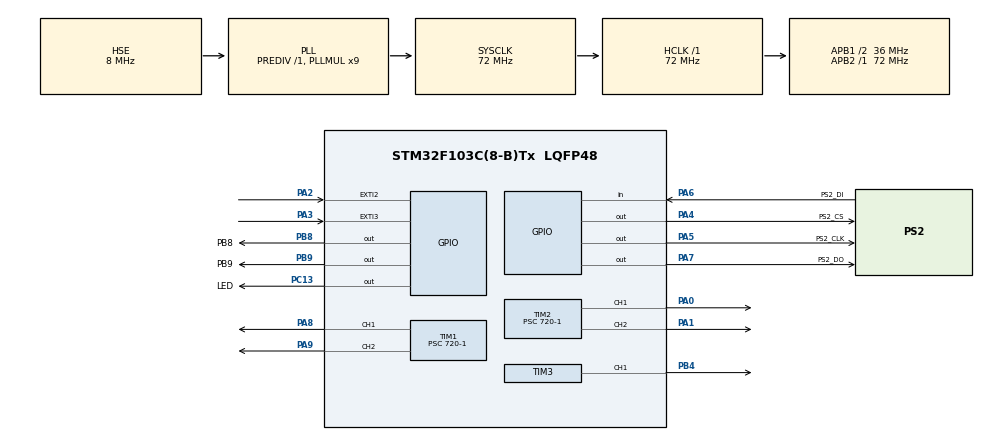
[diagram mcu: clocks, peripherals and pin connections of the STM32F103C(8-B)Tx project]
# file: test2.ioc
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Mcu.Family=STM32F1
Mcu.Name=STM32F103C(8-B)Tx
Mcu.Package=LQFP48
NVIC.EXTI2_IRQn=true\:0\:0\:false\:false\:true\:true\:true\:true
NVIC.EXTI3_IRQn=true\:0\:0\:false\:false\:true\:true\:true\:true
NVIC.PriorityGroup=NVIC_PRIORITYGROUP_4
PA0-WKUP.Signal=S_TIM2_CH1_ETR
PA1.Signal=S_TIM2_CH2
PA13.Mode=Serial_Wire
PA13.Signal=SYS_JTMS-SWDIO
PA14.Mode=Serial_Wire
PA14.Signal=SYS_JTCK-SWCLK
PA2.GPIO_ModeDefaultEXTI=GPIO_MODE_IT_FALLING
PA2.GPIO_PuPd=GPIO_PULLUP
PA2.Signal=GPXTI2
PA3.GPIO_ModeDefaultEXTI=GPIO_MODE_IT_FALLING
PA3.GPIO_PuPd=GPIO_PULLUP
PA3.Signal=GPXTI3
PA4.GPIO_Label=PS2_CS
PA4.GPIO_Speed=GPIO_SPEED_FREQ_HIGH
PA4.PinState=GPIO_PIN_SET
PA4.Signal=GPIO_Output
PA5.GPIO_Label=PS2_CLK
PA5.GPIO_Speed=GPIO_SPEED_FREQ_LOW
PA5.PinState=GPIO_PIN_RESET
PA5.Signal=GPIO_Output
PA6.GPIO_Label=PS2_DI
PA6.GPIO_Mode=GPIO_MODE_INPUT
PA6.GPIO_PuPd=GPIO_PULLUP
PA6.Signal=GPIO_Input
PA7.GPIO_Label=PS2_DO
PA7.GPIO_Speed=GPIO_SPEED_FREQ_LOW
PA7.PinState=GPIO_PIN_RESET
PA7.Signal=GPIO_Output
PA8.Signal=S_TIM1_CH1
PA9.Signal=S_TIM1_CH2
PB4.Signal=S_TIM3_CH1
PB8.GPIO_Label=PB8
PB8.Signal=GPIO_Output
PB9.GPIO_Label=PB9
PB9.Signal=GPIO_Output
PC13-TAMPER-RTC.GPIO_Label=LED
PC13-TAMPER-RTC.Signal=GPIO_Output
PD0-OSC_IN.Mode=HSE-External-Oscillator
PD0-OSC_IN.Signal=RCC_OSC_IN
PD1-OSC_OUT.Mode=HSE-External-Oscillator
PD1-OSC_OUT.Signal=RCC_OSC_OUT
ProjectManager.HeapSize=0x200
ProjectManager.StackSize=0x400
ProjectManager.TargetToolchain=SW4STM32
RCC.AHBFreq_Value=72000000
RCC.APB1CLKDivider=RCC_HCLK_DIV2
RCC.APB1Freq_Value=36000000
RCC.APB1TimFreq_Value=72000000
RCC.APB2Freq_Value=72000000
RCC.APB2TimFreq_Value=72000000
RCC.HCLKFreq_Value=72000000
RCC.PLLMUL=RCC_PLL_MUL9
RCC.PLLSourceVirtual=RCC_PLLSOURCE_HSE
RCC.SYSCLKFreq_VALUE=72000000
RCC.SYSCLKSource=RCC_SYSCLKSOURCE_PLLCLK
RCC.USBFreq_Value=72000000
SH.S_TIM1_CH1.0=TIM1_CH1,PWM Generation1 CH1
SH.S_TIM1_CH2.0=TIM1_CH2,PWM Generation2 CH2
SH.S_TIM2_CH1_ETR.0=TIM2_CH1,PWM Generation1 CH1
SH.S_TIM2_CH2.0=TIM2_CH2,PWM Generation2 CH2
SH.S_TIM3_CH1.0=TIM3_CH1,PWM Generation1 CH1
TIM1.Channel-PWM\ Generation1\ CH1=TIM_CHANNEL_1
TIM1.Channel-PWM\ Generation2\ CH2=TIM_CHANNEL_2
TIM1.Period=1000-1
TIM1.Prescaler=720-1
TIM2.AutoReloadPreload=TIM_AUTORELOAD_PRELOAD_ENABLE
TIM2.Channel-PWM\ Generation1\ CH1=TIM_CHANNEL_1
TIM2.Channel-PWM\ Generation2\ CH2=TIM_CHANNEL_2
TIM2.Period=1000-1
TIM2.Prescaler=720-1
TIM2.Pulse-PWM\ Generation2\ CH2=500
TIM3.Channel-PWM\ Generation1\ CH1=TIM_CHANNEL_1
TIM3.Period=20000-1
TIM3.Prescaler=72-1
VP_TIM1_VS_ClockSourceINT.Mode=Internal
board=custom

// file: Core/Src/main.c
/* USER CODE BEGIN Header */
/**
  ******************************************************************************
  * @file           : main.c
  * @brief          : Main program body
  ******************************************************************************
  * @attention
  *
  * Copyright (c) 2024 STMicroelectronics.
  * All rights reserved.
  *
  * This software is licensed under terms that can be found in the LICENSE file
  * in the root directory of this software component.
  * If no LICENSE file comes with this software, it is provided AS-IS.
  *
  ******************************************************************************
  */
/* USER CODE END Header */
#include "main.h"
#include "tim.h"
#include "gpio.h"

/* USER CODE BEGIN Includes */
#include "OLED.h"
#include "ps2.h"
#include "Motor.h"
#include "stm32f1xx_it.h"

/* USER CODE END Includes */

/* USER CODE BEGIN PV */
uint16_t distance;
int16_t Num;		//定义待被旋转编码器调节的变量

/* USER CODE END PV */

void SystemClock_Config(void);

/* USER CODE BEGIN 0 */

uint16_t GetCCRFromAngle(float InputAngle){
    float Ret=InputAngle/180 * 2000 +500;
    return Ret;
}

/*//将旋转编码器计的数转换为距离
uint16_t Distance_Count(int16_t Retcount){

}

void hhSerialSendByte(uint8_t Byte){
    HAL_UART_Transmit(&huart1, &Byte, 1, HAL_MAX_DELAY);
}
uint8_t Serial_RxFlag;
uint8_t Serial_GetRxFlag(void)
{
    if (Serial_RxFlag == 1)
    {
        Serial_RxFlag = 0;
        return 1;
    }
    return 0;
}
uint8_t Serial_RxPacket[4];
uint8_t ByteRecv;
//接收4个字节的数据�????????
void HAL_UART_RxCpltCallback(UART_HandleTypeDef *huart){
    if (huart == &huart1){
        static uint8_t RxState = 0;
        static uint8_t pRxPacket = 0;
        uint8_t RxData=ByteRecv;
        if (RxState == 0)
            {
                if (RxData == 0xFF)
                    {
                        RxState = 1;
                        pRxPacket = 0;
                    }
            }
        else if (RxState == 1)
            {
                Serial_RxPacket[pRxPacket] = RxData;
                pRxPacket ++;
                if (pRxPacket >= 4)
                    {
                        RxState = 2;
                    }
            }
        else if (RxState == 2)
            {
                if (RxData == 0xFE)
                {
                    RxState = 0;
                    Serial_RxFlag = 1;
                }
            }
//打开中断接收，为下次接收数据做准�????????
HAL_UART_Receive_IT(&huart1, &ByteRecv, 1);

    }
}*/
/* USER CODE END 0 */

int main(void)
{

  /* MCU Configuration--------------------------------------------------------*/

  /* Reset of all peripherals, Initializes the Flash interface and the Systick. */
  HAL_Init();

  /* Configure the system clock */
  SystemClock_Config();

  /* Initialize all configured peripherals */
  MX_GPIO_Init();
  MX_TIM2_Init();
  MX_TIM1_Init();
  MX_TIM3_Init();
  /* USER CODE BEGIN 2 */

    OLED_Init();
    Motor_Init();
    HAL_TIM_PWM_Start(&htim3,TIM_CHANNEL_1);

  /* USER CODE END 2 */

  /* Infinite loop */
  /* USER CODE BEGIN WHILE */
 /* while (1){
      //打开中断接收，若接收到数据则会触发中�????????
      HAL_UART_Receive_IT(&huart1, &ByteRecv, 1);
      distance= Distance_Count(GetCountRet_M1());
      //接收串口数据�????????
      if(Serial_GetRxFlag()==1){

      }
    Car_Forward(1000);
    if(distance==100)
    {
        //停车
        Car_Stop();

        //以下代码对openmv传来的数据进行处理，控制舵机抓取小球

        //�????????出循环，进入遥控
        break;
    }
    }*/
  while (1)
  {
      Car_Stop();
      PS2_Read_Data();
      if(PS2_Data.Key_L_Up){
          Car_Forward(1000);
      } else if(PS2_Data.Key_L_Down){
          Car_Backward(1000);
      } else if (PS2_Data.Key_L_Left){
          Car_TurnLeft(500);
      } else if(PS2_Data.Key_L_Right){
          Car_TurnRight(500);
      }
      if (PS2_Data.Key_L1){
          __HAL_TIM_SET_COMPARE(&htim3,TIM_CHANNEL_1, GetCCRFromAngle(0));
      } else if (PS2_Data.Key_R1){
          __HAL_TIM_SET_COMPARE(&htim3,TIM_CHANNEL_1, GetCCRFromAngle(180));
      }
      OLED_ShowHexNum(1,1,PS2_Data.Key_L1,4);
      OLED_ShowHexNum(2,1,PS2_Data.Key_R1,4);
      OLED_ShowHexNum(3,1,PS2_Data.Rocker_LX,4);

      /*HAL_GPIO_WritePin(LED_GPIO_Port, LED_Pin, GPIO_PIN_SET);
      HAL_Delay(500);*/

    /* USER CODE END WHILE */

  }
}

void SystemClock_Config(void)
{
  RCC_OscInitTypeDef RCC_OscInitStruct = {0};
  RCC_ClkInitTypeDef RCC_ClkInitStruct = {0};

  /** Initializes the RCC Oscillators according to the specified parameters
  * in the RCC_OscInitTypeDef structure.
  */
  RCC_OscInitStruct.OscillatorType = RCC_OSCILLATORTYPE_HSE;
  RCC_OscInitStruct.HSEState = RCC_HSE_ON;
  RCC_OscInitStruct.HSEPredivValue = RCC_HSE_PREDIV_DIV1;
  RCC_OscInitStruct.HSIState = RCC_HSI_ON;
  RCC_OscInitStruct.PLL.PLLState = RCC_PLL_ON;
  RCC_OscInitStruct.PLL.PLLSource = RCC_PLLSOURCE_HSE;
  RCC_OscInitStruct.PLL.PLLMUL = RCC_PLL_MUL9;
  if (HAL_RCC_OscConfig(&RCC_OscInitStruct) != HAL_OK)
  {
    Error_Handler();
  }

  /** Initializes the CPU, AHB and APB buses clocks
  */
  RCC_ClkInitStruct.ClockType = RCC_CLOCKTYPE_HCLK|RCC_CLOCKTYPE_SYSCLK
                              |RCC_CLOCKTYPE_PCLK1|RCC_CLOCKTYPE_PCLK2;
  RCC_ClkInitStruct.SYSCLKSource = RCC_SYSCLKSOURCE_PLLCLK;
  RCC_ClkInitStruct.AHBCLKDivider = RCC_SYSCLK_DIV1;
  RCC_ClkInitStruct.APB1CLKDivider = RCC_HCLK_DIV2;
  RCC_ClkInitStruct.APB2CLKDivider = RCC_HCLK_DIV1;

  if (HAL_RCC_ClockConfig(&RCC_ClkInitStruct, FLASH_LATENCY_2) != HAL_OK)
  {
    Error_Handler();
  }
}

void Error_Handler(void)
{
  __disable_irq();
  while (1)
  {
  }
}
